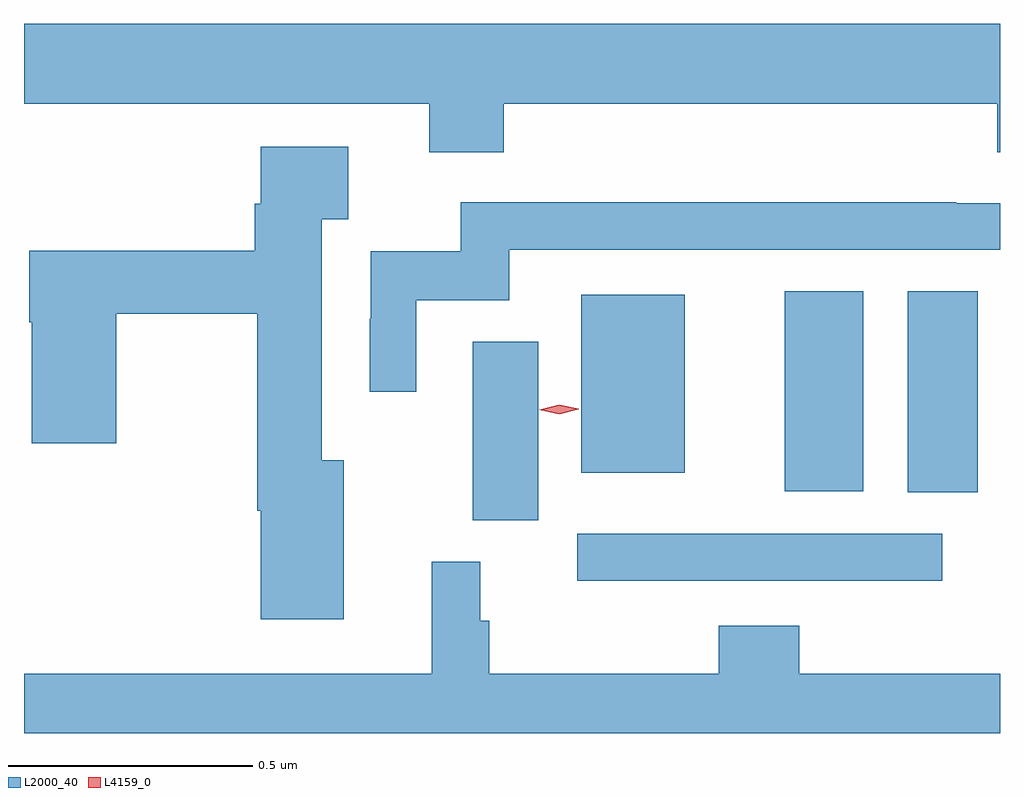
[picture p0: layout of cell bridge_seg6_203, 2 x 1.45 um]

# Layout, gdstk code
import gdstk
lib = gdstk.Library(unit=1e-6, precision=1e-09)
def R(c, l, rs):  # rectangles x0, y0, x1, y1
    for r in rs: c.add(gdstk.rectangle(r[:2], r[2:], *l))
def P(c, l, *ps):  # polygons
    for p in ps: c.add(gdstk.Polygon(p, *l))
L2000_40 = (2000, 40)
L4159_0 = (4159, 0)

bridge_seg6_203 = lib.new_cell('bridge_seg6_203')
R(bridge_seg6_203, L2000_40, [(363.591,970.335,364.339,970.431), (363.377,970.459,363.511,970.825), (364.268,970.516,364.411,970.928), (364.016,970.518,364.177,970.928), (363.599,970.556,363.811,970.921)])
P(bridge_seg6_203, L2000_40, [(363.44,971.312),(364.451,971.312),(364.451,971.213),(364.457,971.213),(364.457,971.476),(362.457,971.476),(362.457,971.312),(363.287,971.312),(363.287,971.213),(363.44,971.213)],
  [(363.112,970.582),(363.067,970.582),(363.067,971.076),(363.121,971.076),(363.121,971.224),(362.942,971.224),(362.942,971.108),(362.93,971.108),(362.93,971.011),(362.468,971.011),(362.468,970.865),(362.473,970.865),(362.473,970.617),(362.646,970.617),(362.646,970.882),(362.935,970.882),(362.935,970.478),(362.942,970.478),(362.942,970.256),(363.112,970.256)],
  [(363.261,970.91),(363.451,970.91),(363.451,971.013),(364.457,971.013),(364.457,971.109),(364.367,971.109),(364.367,971.111),(363.352,971.111),(363.352,971.01),(363.168,971.01),(363.168,970.872),(363.165,970.872),(363.165,970.722),(363.261,970.722)],
  [(364.457,970.144),(364.046,970.144),(364.046,970.243),(363.881,970.243),(363.881,970.144),(363.41,970.144),(363.41,970.253),(363.392,970.253),(363.392,970.374),(363.293,970.374),(363.293,970.144),(362.457,970.144),(362.457,970.023),(364.457,970.023)])
P(bridge_seg6_203, L4159_0, [(363.554,970.676),(363.513,970.685),(363.513,970.685),(363.513,970.685),(363.554,970.696),(363.594,970.687),(363.594,970.686),(363.594,970.686)])

lib.write_gds('bridge_seg6_203.gds')
